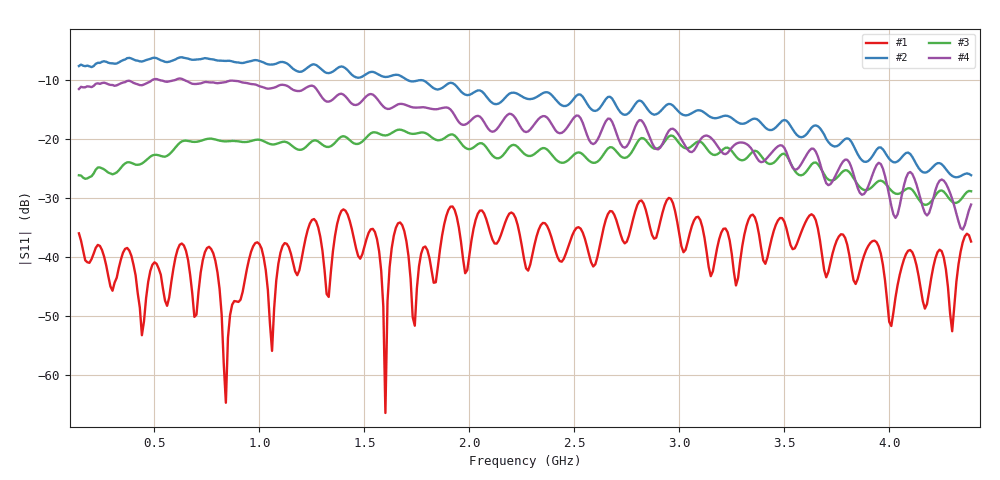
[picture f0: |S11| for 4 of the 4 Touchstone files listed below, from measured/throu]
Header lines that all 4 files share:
! 140 4400 10
# MHz S MA R 50.0
!freq ReS11 ImS11
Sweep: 140 MHz to 4.39 GHz
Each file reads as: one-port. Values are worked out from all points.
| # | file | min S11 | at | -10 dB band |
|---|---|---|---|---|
| 1 | MesureThruS11.s1p | -66.5 dB | 1.6 GHz | over 4.25 GHz wide |
| 2 | MesureThruS12.s1p | -26.5 dB | 4.32 GHz | over 2.613 GHz wide |
| 3 | MesureThruS21.s1p | -31.2 dB | 4.17 GHz | over 4.25 GHz wide |
| 4 | MesureThruS22.s1p | -35.4 dB | 4.35 GHz | over 3.745 GHz wide |
